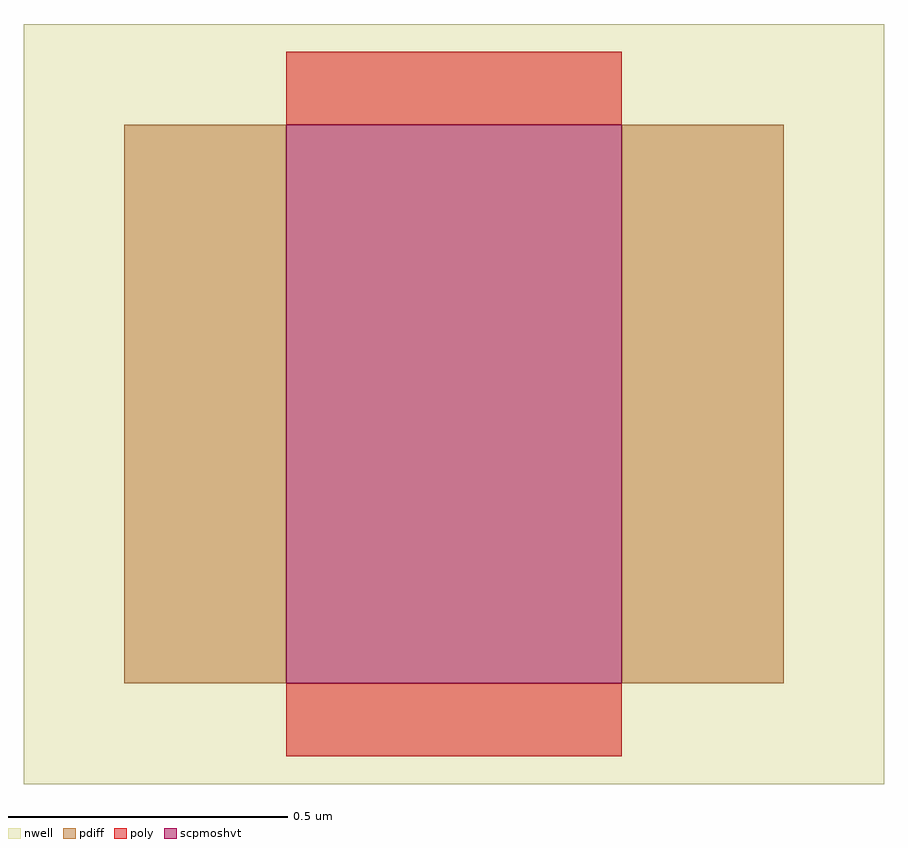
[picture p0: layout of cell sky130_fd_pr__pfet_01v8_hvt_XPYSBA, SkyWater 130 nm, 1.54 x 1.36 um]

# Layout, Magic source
magic
tech sky130A
<< nwell >>
rect -77 -68 77 68
<< scpmoshvt >>
rect -30 -50 30 50
<< pdiff >>
rect -59 -50 -30 50
rect 30 -50 59 50
<< poly >>
rect -30 50 30 63
rect -30 -63 30 -50
<< properties >>
string FIXED_BBOX -101 -133 101 133
string gencell sky130_fd_pr__pfet_01v8_hvt
string library sky130
string parameters w 1.0 l 0.6 m 1 nf 1 diffcov 100 polycov 100 guard 1 glc 1 grc 1 gtc 1 gbc 1 tbcov 100 rlcov 100 topc 1 botc 1 poverlap 0 doverlap 1 lmin 0.15 wmin 0.42 compatible {sky130_fd_pr__pfet_01v8  sky130_fd_pr__pfet_01v8_lvt sky130_fd_pr__pfet_01v8_hvt  sky130_fd_pr__pfet_g5v0d10v5} full_metal 1 viasrc 100 viadrn 100 viagate 100 viagb 0 viagr 0 viagl 0 viagt 0
<< end >>
